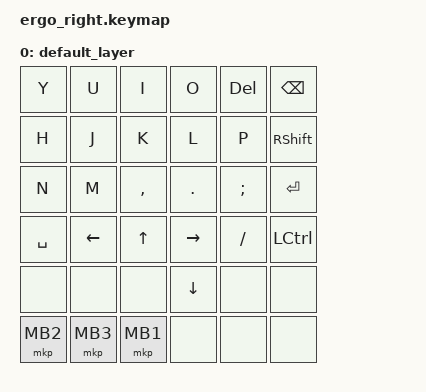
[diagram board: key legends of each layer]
#include <behaviors.dtsi>
#include <dt-bindings/zmk/keys.h>
#include <dt-bindings/zmk/pointing.h>

/ {
    keymap {
        compatible = "zmk,keymap";

        default_layer {
            bindings = <
                /* Row 0: D3 */
                &kp Y     &kp U     &kp I       &kp O       &kp DEL     &kp BSPC

                /* Row 1: D6 */
                &kp H     &kp J     &kp K       &kp L       &kp P       &kp RSHFT

                /* Row 2: D8 */
                &kp N     &kp M     &kp COMMA   &kp DOT     &kp SEMI    &kp RET

                /* Row 3: D9 */
                &kp SPACE &kp LEFT  &kp UP      &kp RIGHT   &kp FSLH   &kp LCTRL

                /* Row 4: D10 */
                &none     &none     &none       &kp DOWN    &none       &none

                /* Row 5: D7 */
                &mkp MB2  &mkp MB3  &mkp MB1    &none       &none       &none
            >;
        };
    };
};
